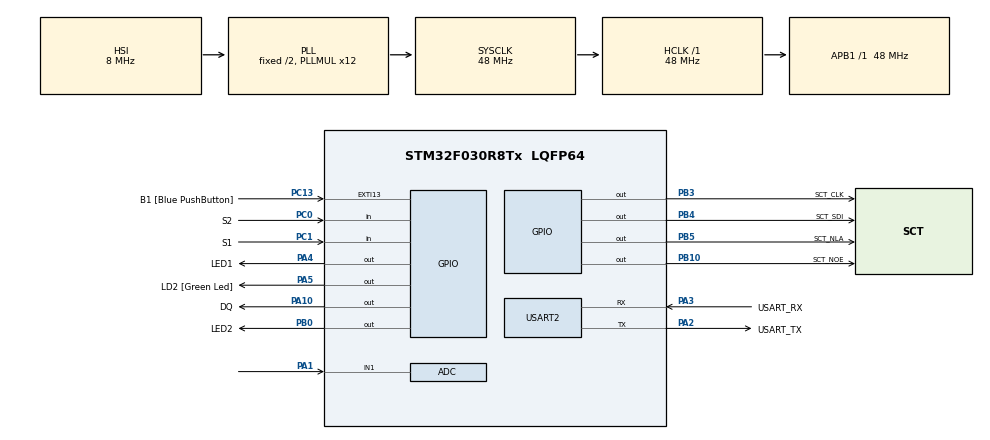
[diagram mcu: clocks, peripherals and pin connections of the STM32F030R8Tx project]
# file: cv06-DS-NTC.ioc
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ADC.ContinuousConvMode=ENABLE
ADC.Overrun=ADC_OVR_DATA_OVERWRITTEN
ADC.Resolution=ADC_RESOLUTION_10B
ADC.SamplingTime=ADC_SAMPLETIME_55CYCLES_5
Mcu.Family=STM32F0
Mcu.Name=STM32F030R8Tx
Mcu.Package=LQFP64
PA1.Mode=IN1
PA1.Signal=ADC_IN1
PA10.GPIO_Label=DQ
PA10.GPIO_ModeDefaultOutputPP=GPIO_MODE_OUTPUT_OD
PA10.GPIO_PuPd=GPIO_NOPULL
PA10.PinState=GPIO_PIN_SET
PA10.Signal=GPIO_Output
PA13.GPIO_Label=TMS
PA13.Mode=Serial_Wire
PA13.Signal=SYS_SWDIO
PA14.GPIO_Label=TCK
PA14.Mode=Serial_Wire
PA14.Signal=SYS_SWCLK
PA2.GPIO_Label=USART_TX
PA2.GPIO_Mode=GPIO_MODE_AF_PP
PA2.GPIO_PuPd=GPIO_NOPULL
PA2.GPIO_Speed=GPIO_SPEED_FREQ_LOW
PA2.Mode=Asynchronous
PA2.Signal=USART2_TX
PA3.GPIO_Label=USART_RX
PA3.GPIO_Mode=GPIO_MODE_AF_PP
PA3.GPIO_PuPd=GPIO_NOPULL
PA3.GPIO_Speed=GPIO_SPEED_FREQ_LOW
PA3.Mode=Asynchronous
PA3.Signal=USART2_RX
PA4.GPIO_Label=LED1
PA4.Signal=GPIO_Output
PA5.GPIO_Label=LD2 [Green Led]
PA5.GPIO_Mode=GPIO_MODE_OUTPUT_PP
PA5.GPIO_PuPd=GPIO_NOPULL
PA5.GPIO_Speed=GPIO_SPEED_FREQ_LOW
PA5.Signal=GPIO_Output
PB0.GPIO_Label=LED2
PB0.Signal=GPIO_Output
PB10.GPIO_Label=SCT_NOE
PB10.Signal=GPIO_Output
PB3.GPIO_Label=SCT_CLK
PB3.Signal=GPIO_Output
PB4.GPIO_Label=SCT_SDI
PB4.Signal=GPIO_Output
PB5.GPIO_Label=SCT_NLA
PB5.Signal=GPIO_Output
PC0.GPIO_Label=S2
PC0.GPIO_Mode=GPIO_MODE_INPUT
PC0.GPIO_PuPd=GPIO_PULLUP
PC0.Signal=GPIO_Input
PC1.GPIO_Label=S1
PC1.GPIO_Mode=GPIO_MODE_INPUT
PC1.GPIO_PuPd=GPIO_PULLUP
PC1.Signal=GPIO_Input
PC13.GPIO_Label=B1 [Blue PushButton]
PC13.GPIO_ModeDefaultEXTI=GPIO_MODE_IT_FALLING
PC13.Signal=GPXTI13
PC14-OSC32_IN.Mode=LSE-External-Oscillator
PC14-OSC32_IN.Signal=RCC_OSC32_IN
PC15-OSC32_OUT.Mode=LSE-External-Oscillator
PC15-OSC32_OUT.Signal=RCC_OSC32_OUT
PF0-OSC_IN.Mode=HSE-External-Clock-Source
PF0-OSC_IN.Signal=RCC_OSC_IN
PF1-OSC_OUT.Signal=RCC_OSC_OUT
ProjectManager.HeapSize=0x200
ProjectManager.StackSize=0x400
ProjectManager.TargetToolchain=STM32CubeIDE
RCC.AHBFreq_Value=48000000
RCC.APB1Freq_Value=48000000
RCC.APB1TimFreq_Value=48000000
RCC.HCLKFreq_Value=48000000
RCC.PLLMUL=RCC_PLL_MUL12
RCC.SYSCLKFreq_VALUE=48000000
RCC.SYSCLKSource=RCC_SYSCLKSOURCE_PLLCLK
USART2.VirtualMode-Asynchronous=VM_ASYNC
board=NUCLEO-F030R8

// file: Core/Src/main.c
/* USER CODE BEGIN Header */
/**
 ******************************************************************************
 * @file           : main.c
 * @brief          : Main program body
 ******************************************************************************
 * @attention
 *
 * Copyright (c) 2023 STMicroelectronics.
 * All rights reserved.
 *
 * This software is licensed under terms that can be found in the LICENSE file
 * in the root directory of this software component.
 * If no LICENSE file comes with this software, it is provided AS-IS.
 *
 ******************************************************************************
 */
/* USER CODE END Header */
#include "main.h"

/* USER CODE BEGIN Includes */
#include "sct.h"
#include "1wire.h"
/* USER CODE END Includes */

ADC_HandleTypeDef hadc;

UART_HandleTypeDef huart2;

/* USER CODE BEGIN PV */
static const int16_t ntc_data[] = {
	#include "ntc_data.dlm"
};
/* USER CODE END PV */

void SystemClock_Config(void);
static void MX_GPIO_Init(void);
static void MX_USART2_UART_Init(void);
static void MX_ADC_Init(void);

int main(void) {

	/* MCU Configuration--------------------------------------------------------*/

	/* Reset of all peripherals, Initializes the Flash interface and the Systick. */
	HAL_Init();

	/* Configure the system clock */
	SystemClock_Config();

	/* Initialize all configured peripherals */
	MX_GPIO_Init();
	MX_USART2_UART_Init();
	MX_ADC_Init();
	/* USER CODE BEGIN 2 */
	HAL_ADCEx_Calibration_Start(&hadc);
	HAL_ADC_Start(&hadc);

	OWInit();
	sct_init();

	/* USER CODE END 2 */

	/* Infinite loop */
	/* USER CODE BEGIN WHILE */
	while (1) {

		static enum {NTC, DS} state = NTC;
		static uint32_t last_convert;

		static int16_t temp_18b20;
		static int16_t temp_ntc;

		if(!HAL_GPIO_ReadPin(S1_GPIO_Port, S1_Pin))
			state = DS;

		if(!HAL_GPIO_ReadPin(S2_GPIO_Port, GPIO_Pin))
			state = NTC;

		if(HAL_GetTick() > last_convert+CONVERT_T_DELAY) {
			last_convert = HAL_GetTick();

			OWConvertAll();
			HAL_Delay(CONVERT_T_DELAY);
			OWReadTemperature(&temp_18b20);

		}
		//sct_value((temp_18b20+5)/10, 0, 2);

		sct_value(ntc_data[HAL_ADC_GetValue(&hadc)], 0, 2);

		HAL_Delay(10);

		/* USER CODE END WHILE */

	}
}

void SystemClock_Config(void) {
	RCC_OscInitTypeDef RCC_OscInitStruct = { 0 };
	RCC_ClkInitTypeDef RCC_ClkInitStruct = { 0 };

	/** Initializes the RCC Oscillators according to the specified parameters
	 * in the RCC_OscInitTypeDef structure.
	 */
	RCC_OscInitStruct.OscillatorType = RCC_OSCILLATORTYPE_HSI
			| RCC_OSCILLATORTYPE_HSI14;
	RCC_OscInitStruct.HSIState = RCC_HSI_ON;
	RCC_OscInitStruct.HSI14State = RCC_HSI14_ON;
	RCC_OscInitStruct.HSICalibrationValue = RCC_HSICALIBRATION_DEFAULT;
	RCC_OscInitStruct.HSI14CalibrationValue = 16;
	RCC_OscInitStruct.PLL.PLLState = RCC_PLL_ON;
	RCC_OscInitStruct.PLL.PLLSource = RCC_PLLSOURCE_HSI;
	RCC_OscInitStruct.PLL.PLLMUL = RCC_PLL_MUL12;
	RCC_OscInitStruct.PLL.PREDIV = RCC_PREDIV_DIV1;
	if (HAL_RCC_OscConfig(&RCC_OscInitStruct) != HAL_OK) {
		Error_Handler();
	}

	/** Initializes the CPU, AHB and APB buses clocks
	 */
	RCC_ClkInitStruct.ClockType = RCC_CLOCKTYPE_HCLK | RCC_CLOCKTYPE_SYSCLK
			| RCC_CLOCKTYPE_PCLK1;
	RCC_ClkInitStruct.SYSCLKSource = RCC_SYSCLKSOURCE_PLLCLK;
	RCC_ClkInitStruct.AHBCLKDivider = RCC_SYSCLK_DIV1;
	RCC_ClkInitStruct.APB1CLKDivider = RCC_HCLK_DIV1;

	if (HAL_RCC_ClockConfig(&RCC_ClkInitStruct, FLASH_LATENCY_1) != HAL_OK) {
		Error_Handler();
	}
}

static void MX_ADC_Init(void) {

	ADC_ChannelConfTypeDef sConfig = { 0 };

	/** Configure the global features of the ADC (Clock, Resolution, Data Alignment and number of conversion)
	 */
	hadc.Instance = ADC1;
	hadc.Init.ClockPrescaler = ADC_CLOCK_ASYNC_DIV1;
	hadc.Init.Resolution = ADC_RESOLUTION_10B;
	hadc.Init.DataAlign = ADC_DATAALIGN_RIGHT;
	hadc.Init.ScanConvMode = ADC_SCAN_DIRECTION_FORWARD;
	hadc.Init.EOCSelection = ADC_EOC_SINGLE_CONV;
	hadc.Init.LowPowerAutoWait = DISABLE;
	hadc.Init.LowPowerAutoPowerOff = DISABLE;
	hadc.Init.ContinuousConvMode = ENABLE;
	hadc.Init.DiscontinuousConvMode = DISABLE;
	hadc.Init.ExternalTrigConv = ADC_SOFTWARE_START;
	hadc.Init.ExternalTrigConvEdge = ADC_EXTERNALTRIGCONVEDGE_NONE;
	hadc.Init.DMAContinuousRequests = DISABLE;
	hadc.Init.Overrun = ADC_OVR_DATA_OVERWRITTEN;
	if (HAL_ADC_Init(&hadc) != HAL_OK) {
		Error_Handler();
	}

	/** Configure for the selected ADC regular channel to be converted.
	 */
	sConfig.Channel = ADC_CHANNEL_1;
	sConfig.Rank = ADC_RANK_CHANNEL_NUMBER;
	sConfig.SamplingTime = ADC_SAMPLETIME_55CYCLES_5;
	if (HAL_ADC_ConfigChannel(&hadc, &sConfig) != HAL_OK) {
		Error_Handler();
	}

}

static void MX_USART2_UART_Init(void) {

	huart2.Instance = USART2;
	huart2.Init.BaudRate = 38400;
	huart2.Init.WordLength = UART_WORDLENGTH_8B;
	huart2.Init.StopBits = UART_STOPBITS_1;
	huart2.Init.Parity = UART_PARITY_NONE;
	huart2.Init.Mode = UART_MODE_TX_RX;
	huart2.Init.HwFlowCtl = UART_HWCONTROL_NONE;
	huart2.Init.OverSampling = UART_OVERSAMPLING_16;
	huart2.Init.OneBitSampling = UART_ONE_BIT_SAMPLE_DISABLE;
	huart2.AdvancedInit.AdvFeatureInit = UART_ADVFEATURE_NO_INIT;
	if (HAL_UART_Init(&huart2) != HAL_OK) {
		Error_Handler();
	}

}

static void MX_GPIO_Init(void) {
	GPIO_InitTypeDef GPIO_InitStruct = { 0 };

	/* GPIO Ports Clock Enable */
	__HAL_RCC_GPIOC_CLK_ENABLE();
	__HAL_RCC_GPIOF_CLK_ENABLE();
	__HAL_RCC_GPIOA_CLK_ENABLE();
	__HAL_RCC_GPIOB_CLK_ENABLE();

	/*Configure GPIO pin Output Level */
	HAL_GPIO_WritePin(GPIOA, LED1_Pin | LD2_Pin, GPIO_PIN_RESET);

	/*Configure GPIO pin Output Level */
	HAL_GPIO_WritePin(GPIOB,
			LED2_Pin | SCT_NOE_Pin | SCT_CLK_Pin | SCT_SDI_Pin | SCT_NLA_Pin,
			GPIO_PIN_RESET);

	/*Configure GPIO pin Output Level */
	HAL_GPIO_WritePin(DQ_GPIO_Port, DQ_Pin, GPIO_PIN_SET);

	/*Configure GPIO pin : B1_Pin */
	GPIO_InitStruct.Pin = B1_Pin;
	GPIO_InitStruct.Mode = GPIO_MODE_IT_FALLING;
	GPIO_InitStruct.Pull = GPIO_NOPULL;
	HAL_GPIO_Init(B1_GPIO_Port, &GPIO_InitStruct);

	/*Configure GPIO pins : S2_Pin S1_Pin */
	GPIO_InitStruct.Pin = S2_Pin | S1_Pin;
	GPIO_InitStruct.Mode = GPIO_MODE_INPUT;
	GPIO_InitStruct.Pull = GPIO_PULLUP;
	HAL_GPIO_Init(GPIOC, &GPIO_InitStruct);

	/*Configure GPIO pins : LED1_Pin LD2_Pin */
	GPIO_InitStruct.Pin = LED1_Pin | LD2_Pin;
	GPIO_InitStruct.Mode = GPIO_MODE_OUTPUT_PP;
	GPIO_InitStruct.Pull = GPIO_NOPULL;
	GPIO_InitStruct.Speed = GPIO_SPEED_FREQ_LOW;
	HAL_GPIO_Init(GPIOA, &GPIO_InitStruct);

	/*Configure GPIO pins : LED2_Pin SCT_NOE_Pin SCT_CLK_Pin SCT_SDI_Pin
	 SCT_NLA_Pin */
	GPIO_InitStruct.Pin = LED2_Pin | SCT_NOE_Pin | SCT_CLK_Pin | SCT_SDI_Pin
			| SCT_NLA_Pin;
	GPIO_InitStruct.Mode = GPIO_MODE_OUTPUT_PP;
	GPIO_InitStruct.Pull = GPIO_NOPULL;
	GPIO_InitStruct.Speed = GPIO_SPEED_FREQ_LOW;
	HAL_GPIO_Init(GPIOB, &GPIO_InitStruct);

	/*Configure GPIO pin : DQ_Pin */
	GPIO_InitStruct.Pin = DQ_Pin;
	GPIO_InitStruct.Mode = GPIO_MODE_OUTPUT_OD;
	GPIO_InitStruct.Pull = GPIO_NOPULL;
	GPIO_InitStruct.Speed = GPIO_SPEED_FREQ_LOW;
	HAL_GPIO_Init(DQ_GPIO_Port, &GPIO_InitStruct);

}

void Error_Handler(void) {
	__disable_irq();
	while (1) {
	}
}
